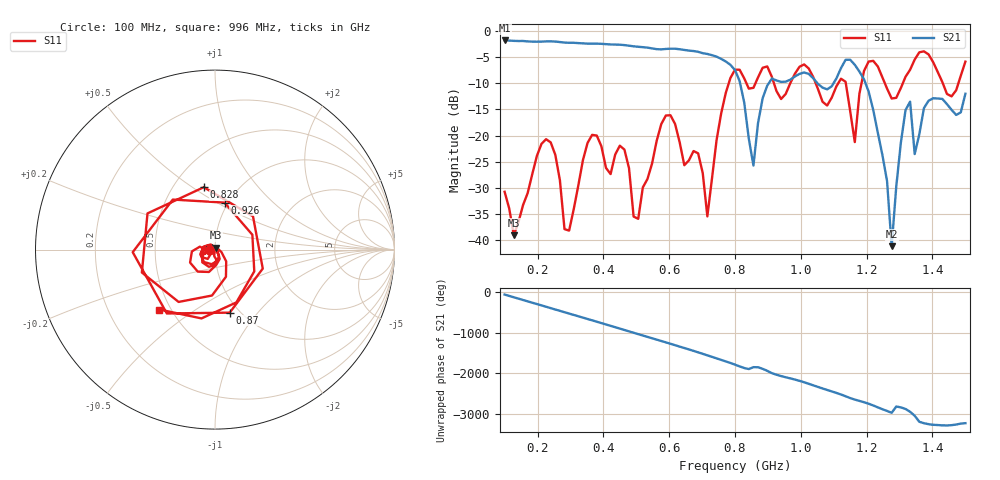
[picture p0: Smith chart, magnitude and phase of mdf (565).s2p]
! NanoVNA-App
! Date: 2025-09-25 15:42:49
! Start: 100MHz Stop: 1,5GHz Points: 101
! S-Parameter data: F S11 S21 S12 S22
# Hz S RI R 50
!  Frequency  S11_Real  S11_Imag  S21_Real  S21_Imag  S12_Real  S12_Imag  S22_Real  S22_Imag
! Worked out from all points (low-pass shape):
!   101 points, 100 MHz to 1.5 GHz, reference 50 ohm
!   highest |S21| = -1.80 dB at 100 MHz (marker M1); lowest = -41.1 dB at 1.276 GHz (marker M2)
!   |S21| within 3 dB of the highest: start of sweep to 739.4 MHz
!   lowest |S11| = -39.0 dB at 128 MHz (marker M3), VSWR 1.02, Z = 50.3 + j1.07 ohm
!   |S11| at or under -10 dB: start of sweep to 781 MHz; 1.045 GHz to 1.114 GHz (68.29 MHz wide, 6.33 % of centre); 1.255 GHz to 1.31 GHz (54.46 MHz wide, 4.25 % of centre) (the widest 3 of 7)
!   S12 and S22 are empty: the file has one direction only
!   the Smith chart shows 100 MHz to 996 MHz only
!   S11 on the Smith chart (normalised r, x): 100 MHz: 0.94, -0.01; 828 MHz: 0.70, +0.56; 870 MHz: 0.90, -0.73; 926 MHz: 0.96, +0.54; 996 MHz: 0.43, -0.37
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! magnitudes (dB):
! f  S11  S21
! 100 MHz  -30.7  -1.8
! 128 MHz  -39.0  -1.9
! 212 MHz  -21.6  -2.0
! 282 MHz  -37.9  -2.2
! 338 MHz  -24.7  -2.4
! 464 MHz  -22.7  -2.7
! 506 MHz  -35.9  -3.0
! 576 MHz  -17.8  -3.5
! 716 MHz  -35.4  -4.4
! 800 MHz  -7.4  -7.5
! 828 MHz  -9.0  -13.7
! 856 MHz  -10.9  -25.7
! 870 MHz  -8.9  -17.6
! 926 MHz  -11.5  -9.5
! 996 MHz  -6.8  -8.2
! 1.038 GHz  -8.8  -9.0
! 1.164 GHz  -21.2  -6.5
! 1.192 GHz  -7.6  -9.2
! 1.276 GHz  -12.9  -41.1
! 1.318 GHz  -8.8  -15.1
! 1.346 GHz  -5.4  -23.5
! 1.5 GHz  -5.9  -12.0
